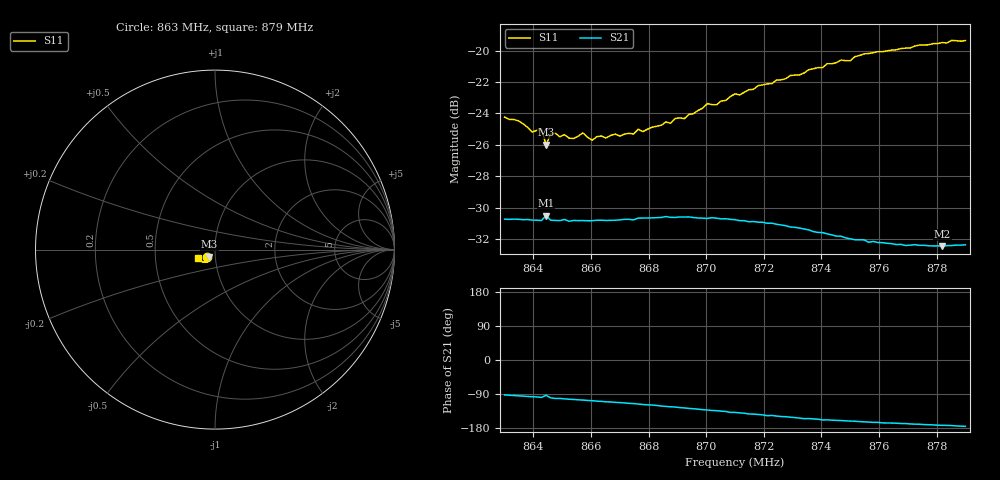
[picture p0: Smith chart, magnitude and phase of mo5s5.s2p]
# HZ S RI R 50
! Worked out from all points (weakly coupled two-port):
!   101 points, 863 MHz to 879 MHz, reference 50 ohm
!   highest |S21| = -30.49 dB at 864.44 MHz (marker M1); lowest = -32.4 dB at 878.2 MHz (marker M2)
!   lowest |S11| = -26.0 dB at 864.44 MHz (marker M3), VSWR 1.11, Z = 46.8 - j3.66 ohm
!   |S11| at or under -10 dB: start of sweep to end of sweep
!   S12 and S22 are empty: the file has one direction only
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8.63e8  -0.0472 -0.0393  -0.00105 -0.0291  0 0  0 0
8.6348e8  -0.0448 -0.0396  -0.00235 -0.029  0 0  0 0
8.6396e8  -0.0407 -0.037  -0.00346 -0.0287  0 0  0 0
8.6428e8  -0.04 -0.0397  -0.00437 -0.0285  0 0  0 0
8.6444e8  -0.0316 -0.039  -0.00165 -0.0299  0 0  0 0
8.646e8  -0.0379 -0.0389  -0.00501 -0.0284  0 0  0 0
8.654e8  -0.034 -0.0401  -0.00704 -0.028  0 0  0 0
8.6572e8  -0.0355 -0.0416  -0.00782 -0.0277  0 0  0 0
8.6604e8  -0.0315 -0.0412  -0.00863 -0.0275  0 0  0 0
8.6844e8  -0.0291 -0.05  -0.0154 -0.0252  0 0  0 0
8.6892e8  -0.028 -0.054  -0.0165 -0.0244  0 0  0 0
8.6924e8  -0.0277 -0.0541  -0.0176 -0.0238  0 0  0 0
8.7004e8  -0.032 -0.0598  -0.0196 -0.0218  0 0  0 0
8.7036e8  -0.0304 -0.06  -0.0203 -0.0212  0 0  0 0
8.71e8  -0.0354 -0.0637  -0.0216 -0.0193  0 0  0 0
8.7372e8  -0.0513 -0.0709  -0.0242 -0.0111  0 0  0 0
8.7468e8  -0.0614 -0.0702  -0.0241 -0.00887  0 0  0 0
8.75e8  -0.063 -0.0682  -0.0239 -0.00813  0 0  0 0
8.7548e8  -0.0685 -0.0695  -0.0239 -0.00725  0 0  0 0
8.7644e8  -0.0769 -0.0645  -0.0236 -0.00574  0 0  0 0
8.782e8  -0.0919 -0.0529  -0.0237 -0.00311  0 0  0 0
8.79e8  -0.097 -0.0466  -0.024 -0.00209  0 0  0 0
